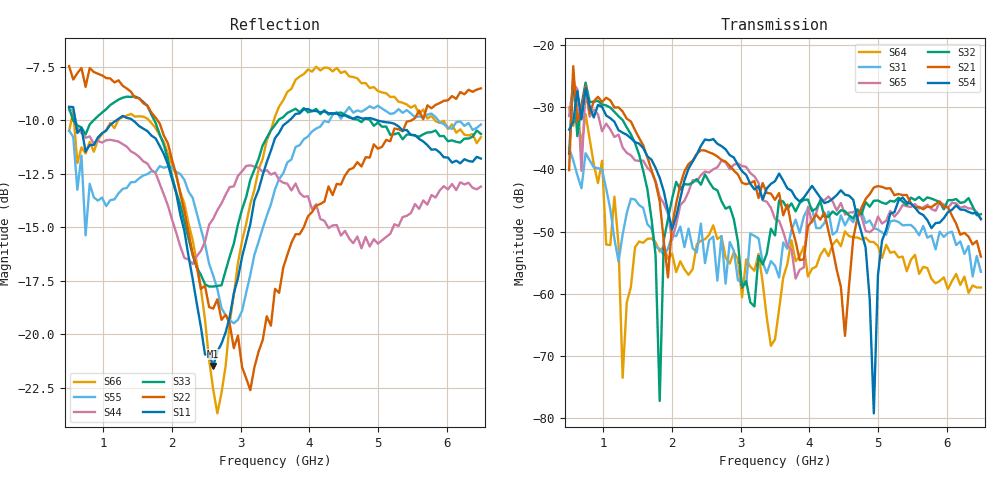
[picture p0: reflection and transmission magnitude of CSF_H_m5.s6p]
!Keysight Technologies,M9804A,MY58100912,A.14.10.03
!Date: Thursday, April 27, 2023 10:28:33
!Correction: S11(C  6-Port  )
!S12(C  6-Port  )
!S13(C  6-Port  )
!S14(C  6-Port  )
!S15(C  6-Port  )
!S16(C  6-Port  )
!S21(C  6-Port  )
!S22(C  6-Port  )
!S23(C  6-Port  )
!S24(C  6-Port  )
!S25(C  6-Port  )
!S26(C  6-Port  )
!S31(C  6-Port  )
!S32(C  6-Port  )
!S33(C  6-Port  )
!S34(C  6-Port  )
!S35(C  6-Port  )
!S36(C  6-Port  )
!S41(C  6-Port  )
!S42(C  6-Port  )
!S43(C  6-Port  )
!S44(C  6-Port  )
!S45(C  6-Port  )
!S46(C  6-Port  )
!S51(C  6-Port  )
!S52(C  6-Port  )
!S53(C  6-Port  )
!S54(C  6-Port  )
!S55(C  6-Port  )
!S56(C  6-Port  )
!S61(C  6-Port  )
!S62(C  6-Port  )
!S63(C  6-Port  )
!S64(C  6-Port  )
!S65(C  6-Port  )
!S66(C  6-Port  )
!S6P File: Measurement: :
# Hz S  RI  R 50
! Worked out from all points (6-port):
!   101 points, 500 MHz to 6.5 GHz, reference 50 ohm
!   strongest paths, dB at 500 MHz, 2 GHz, 3.5 GHz, 5 GHz, 6.5 GHz:
!     S54: -33.6, -49.6, -41.9, -57.0, -47.9
!     S21: -40.1, -49.0, -44.9, -42.7, -54.0
!     S32: -37.5, -44.7, -50.6, -45.0, -47.2
!     S65: -31.4, -51.3, -48.0, -47.6, -48.0
!     S31: -36.6, -50.6, -55.4, -49.7, -56.5
!     S64: -30.0, -53.5, -67.3, -52.3, -59.0
!   lowest |S11| = -21.5 dB at 2.6 GHz (marker M1), VSWR 1.18, Z = 42.5 + j2.2 ohm
!   |S11| at or under -10 dB: 589.9 MHz to 1.194 GHz (604.2 MHz wide, 67.7 % of centre); 1.423 GHz to 3.715 GHz (2.292 GHz wide, 89.2 % of centre); 4.975 GHz to end of sweep
